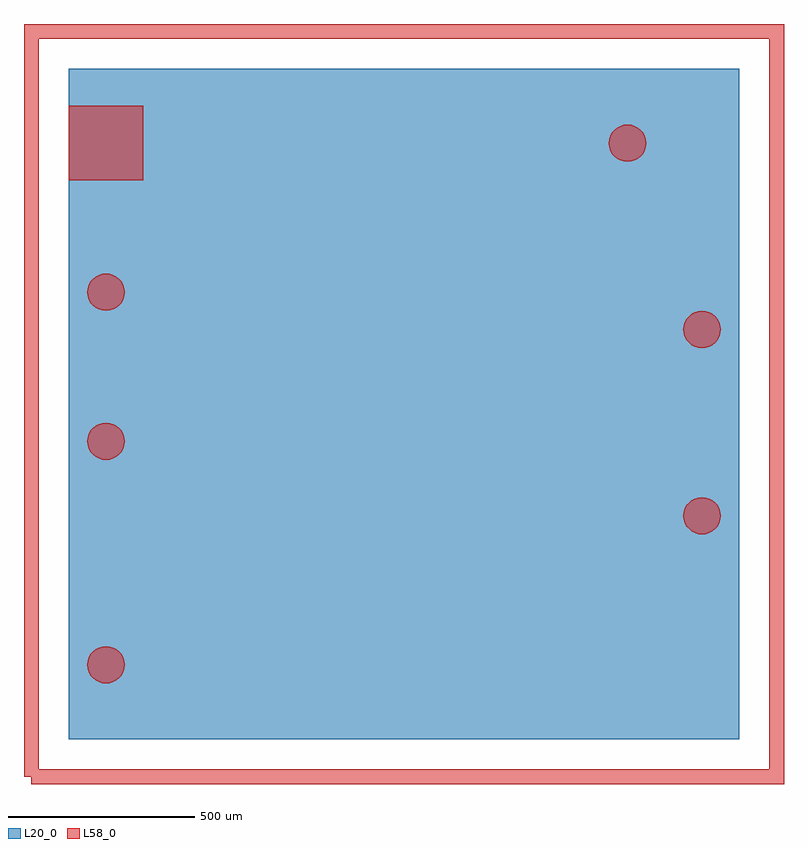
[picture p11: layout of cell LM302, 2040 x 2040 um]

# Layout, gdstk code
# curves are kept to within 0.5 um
import gdstk
lib = gdstk.Library(unit=1e-6, precision=1e-09)
def R(c, l, rs):  # rectangles x0, y0, x1, y1
    for r in rs: c.add(gdstk.rectangle(r[:2], r[2:], *l))
def P(c, l, *ps):  # polygons
    for p in ps: c.add(gdstk.Polygon(p, *l))
L20_0 = (20, 0)
L58_0 = (58, 0)

chip_pin_1 = lib.new_cell('chip_pin_1')
R(chip_pin_1, L58_0, [(-100,-100,100,100)])

chip_pin = lib.new_cell('chip_pin')
P(chip_pin, L58_0, [(50,0),(49,10),(42,28),(28,42),(10,49),(0,50),(-10,49),(-28,42),(-42,28),(-49,10),(-50,0),(-49,-10),(-42,-28),(-28,-42),(-10,-49),(0,-50),(10,-49),(28,-42),(42,-28),(49,-10)])

lm302 = lib.new_cell('LM302')
R(lm302, L20_0, [(-900,-900,900,900)])
lm302.add(gdstk.FlexPath([(-1000,-1000),(1000,-1000),(1000,1000),(-1000,1000),(-1000,-1000)], 40, ends="flush", simple_path=True, layer=58, datatype=0))  # L58_0
lm302.add(gdstk.Reference(chip_pin_1, (-800,700)))
lm302.add(gdstk.Reference(chip_pin, (-800,300)))
lm302.add(gdstk.Reference(chip_pin, (-800,-100)))
lm302.add(gdstk.Reference(chip_pin, (-800,-700)))
lm302.add(gdstk.Reference(chip_pin, (800,-300)))
lm302.add(gdstk.Reference(chip_pin, (800,200)))
lm302.add(gdstk.Reference(chip_pin, (600,700)))

lib.write_gds('LM302.gds')
